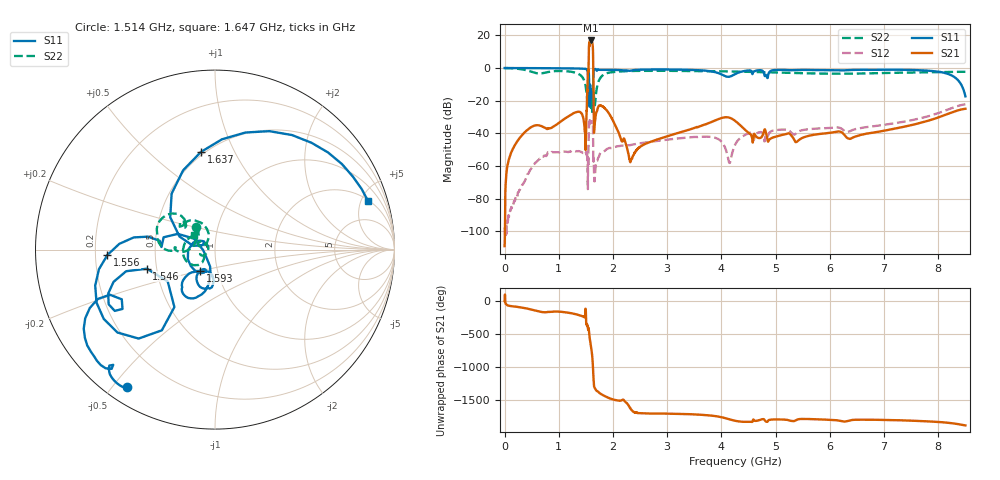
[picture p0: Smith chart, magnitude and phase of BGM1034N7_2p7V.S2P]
!Agilent Technologies,E5071C,MY46105553,A.09.30
!Date: Wed Jul 20 16:43:48 2011
!Data & Calibration Information:
!Freq	S11:SOLT2(ON)	S21:SOLT2(ON)	S12:SOLT2(ON)	S22:SOLT2(ON)
# Hz S dB R 50
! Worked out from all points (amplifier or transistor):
!   1600 points, 300 kHz to 8.5 GHz, reference 50 ohm
!   highest |S21| = 16.9 dB at 1.593 GHz (marker M1)
!   |S21| within 3 dB of that: 1.563 GHz to 1.625 GHz (62.52 MHz wide, 3.92 % of centre) (the widest 1 of 2)
!   unconditionally stable (mu >= 1): start of sweep to 302.6 kHz; 13.49 MHz to end of sweep
!   at 1.466 GHz: K = 722.53, MAG = -22.4 dB, |S12| = -51.9 dB
!   at 3.267 GHz: K = 431.42, MAG = -27.5 dB, |S12| = -42.9 dB
!   at 8.5 GHz: K = 45.94, MAG = -21.0 dB, |S12| = -22.2 dB
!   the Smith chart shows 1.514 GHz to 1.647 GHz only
!   S11 on the Smith chart (normalised r, x): 1.514 GHz: 0.06, -0.55; 1.546 GHz: 0.44, -0.11; 1.556 GHz: 0.25, -0.02; 1.593 GHz: 0.83, -0.20; 1.637 GHz: 0.48, +0.75; 1.647 GHz: 2.12, +5.74
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300000  -0.00 0.0  -109.16 -7.3  -97.63 58.6  -0.01 -0.0
3.762664e8  -0.04 -18.8  -39.22 -114.4  -69.03 22.9  -1.14 -78.6
1.419465e9  -0.34 -92.3  -27.90 127.2  -51.55 138.1  -4.98 149.3
1.514e9  -0.84 -122.6  -26.05 -10.1  -52.01 134.0  -15.83 129.8
1.546e9  -8.08 -164.3  -1.16 -78.0  -51.38 -83.3  -10.74 177.9
1.556e9  -4.44 -177.2  12.95 -100.3  -35.90 -142.9  -9.63 143.9
1.565e9  -23.65 -177.2  15.82 -170.2  -32.76 154.4  -13.19 138.6
1.571e9  -12.44 -103.5  16.49 146.8  -32.14 115.6  -13.24 144.1
1.582e9  -10.85 -130.2  16.57 88.7  -32.63 60.4  -14.66 121.8
1.593e9  -16.79 -124.6  16.91 31.4  -32.91 2.5  -23.46 125.6
1.602e9  -13.52 -94.8  16.50 -18.8  -33.44 -51.1  -21.14 168.0
1.611e9  -13.69 -118.7  16.18 -75.7  -33.27 -111.9  -20.96 149.5
1.621e9  -16.61 -118.2  15.09 -161.2  -32.84 164.1  -24.67 -154.1
1.629e9  -21.34 146.0  12.03 94.0  -35.33 70.7  -23.07 -157.3
1.637e9  -5.20 98.2  -5.66 -54.7  -57.34 39.8  -15.02 -165.4
1.647e9  -0.96 17.5  -38.79 168.8  -59.62 58.7  -16.83 146.0
1.742e9  -1.05 -70.3  -23.06 52.4  -54.16 176.3  -7.44 -78.9
2.835005e9  -0.88 -137.1  -43.57 96.9  -44.60 105.7  -1.68 -176.3
4.256166e9  -3.63 -163.3  -32.47 -12.8  -46.73 148.9  -2.14 159.6
5.670777e9  -1.20 138.0  -41.10 12.7  -37.32 44.7  -3.29 137.1
7.085389e9  -1.03 92.4  -37.86 -0.0  -34.35 11.1  -2.98 116.0
8.5e9  -17.37 26.9  -24.96 -82.7  -22.21 -78.6  -2.29 103.9
